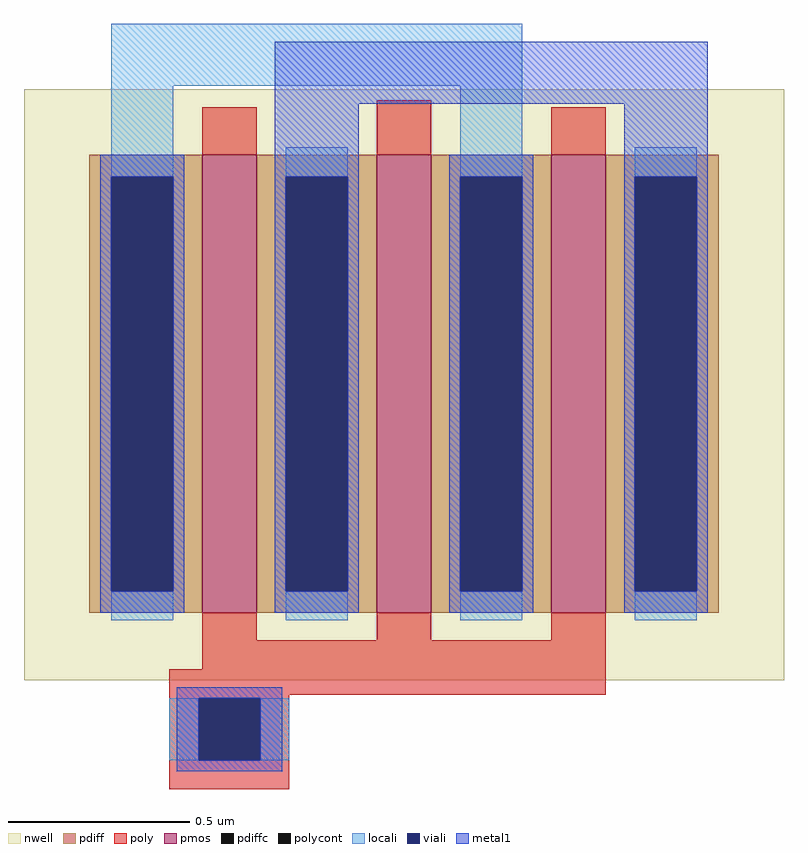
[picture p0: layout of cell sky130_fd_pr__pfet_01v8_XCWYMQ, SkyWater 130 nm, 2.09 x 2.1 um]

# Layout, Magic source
magic
tech sky130A
magscale 1 2
<< nwell >>
rect -209 -163 209 162
<< pmos >>
rect -111 -126 -81 126
rect -15 -126 15 126
rect 81 -126 111 126
<< pdiff >>
rect -173 114 -111 126
rect -173 -114 -161 114
rect -127 -114 -111 114
rect -173 -126 -111 -114
rect -81 114 -15 126
rect -81 -114 -65 114
rect -31 -114 -15 114
rect -81 -126 -15 -114
rect 15 114 81 126
rect 15 -114 31 114
rect 65 -114 81 114
rect 15 -126 81 -114
rect 111 114 173 126
rect 111 -114 127 114
rect 161 -114 173 114
rect 111 -126 173 -114
<< pdiffc >>
rect -161 -114 -127 114
rect -65 -114 -31 114
rect 31 -114 65 114
rect 127 -114 161 114
<< poly >>
rect -111 126 -81 152
rect -15 126 15 156
rect 81 126 111 152
rect -111 -141 -81 -126
rect -15 -141 15 -126
rect 81 -141 111 -126
rect -111 -157 111 -141
rect -129 -171 111 -157
rect -129 -173 -63 -171
rect -129 -207 -113 -173
rect -79 -207 -63 -173
rect -129 -223 -63 -207
<< polycont >>
rect -113 -207 -79 -173
<< locali >>
rect -161 164 65 198
rect -161 114 -127 164
rect -161 -130 -127 -114
rect -65 114 -31 130
rect -65 -130 -31 -114
rect 31 114 65 164
rect 31 -130 65 -114
rect 127 114 161 130
rect 127 -130 161 -114
rect -129 -207 -113 -173
rect -79 -207 -63 -173
<< viali >>
rect -161 -114 -127 114
rect -65 -114 -31 114
rect 31 -114 65 114
rect 127 -114 161 114
rect -113 -207 -79 -173
<< metal1 >>
rect -71 154 167 188
rect -167 114 -121 126
rect -167 -114 -161 114
rect -127 -114 -121 114
rect -167 -126 -121 -114
rect -71 114 -25 154
rect -71 -114 -65 114
rect -31 -114 -25 114
rect -71 -126 -25 -114
rect 25 114 71 126
rect 25 -114 31 114
rect 65 -114 71 114
rect 25 -126 71 -114
rect 121 114 167 154
rect 121 -114 127 114
rect 161 -114 167 114
rect 121 -126 167 -114
rect -125 -173 -67 -167
rect -125 -207 -113 -173
rect -79 -207 -67 -173
rect -125 -213 -67 -207
<< properties >>
string FIXED_BBOX -258 -292 258 292
string gencell sky130_fd_pr__pfet_01v8
string library sky130
string parameters w 1.26 l 0.15 m 1 nf 3 diffcov 100 polycov 100 guard 1 glc 1 grc 1 gtc 1 gbc 1 tbcov 100 rlcov 100 topc 1 botc 1 poverlap 0 doverlap 1 lmin 0.15 wmin 0.42 compatible {sky130_fd_pr__pfet_01v8  sky130_fd_pr__pfet_01v8_lvt sky130_fd_pr__pfet_01v8_hvt  sky130_fd_pr__pfet_g5v0d10v5} full_metal 1 viasrc 100 viadrn 100 viagate 100 viagb 0 viagr 0 viagl 0 viagt 0
<< end >>
